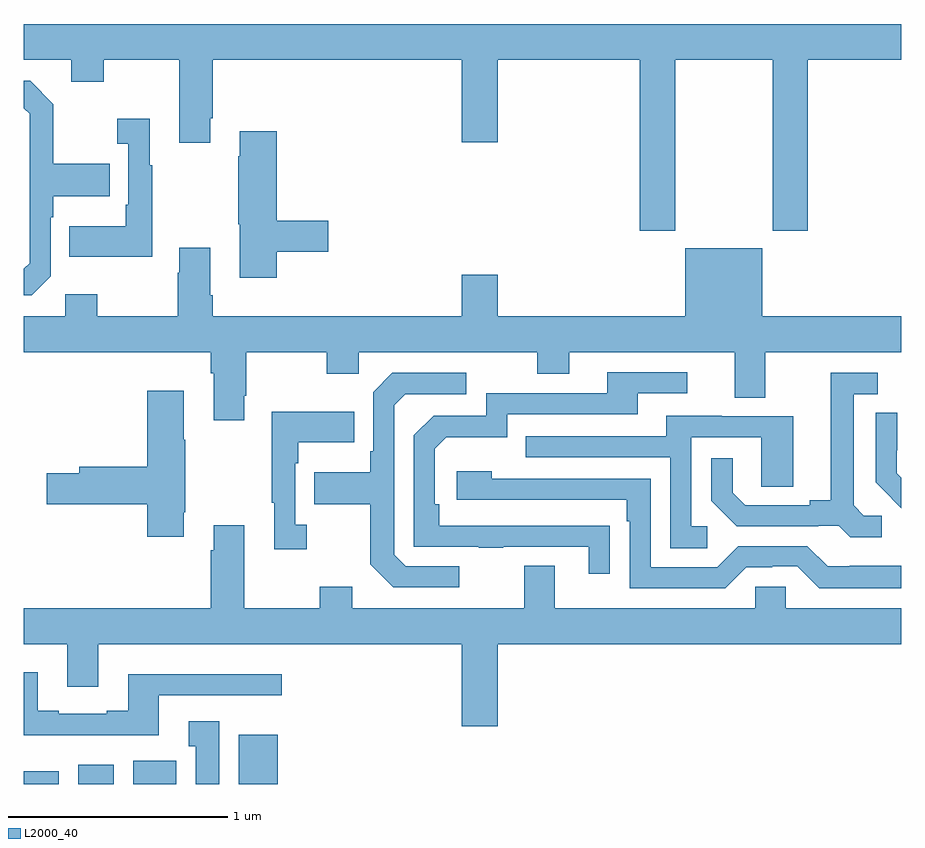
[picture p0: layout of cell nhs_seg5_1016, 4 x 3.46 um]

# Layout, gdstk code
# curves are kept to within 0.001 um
import gdstk
lib = gdstk.Library(unit=1e-6, precision=1e-09)
def R(c, l, rs):  # rectangles x0, y0, x1, y1
    for r in rs: c.add(gdstk.rectangle(r[:2], r[2:], *l))
def P(c, l, *ps):  # polygons
    for p in ps: c.add(gdstk.Polygon(p, *l))
L2000_40 = (2000, 40)

nhs_seg5_1016 = lib.new_cell('nhs_seg5_1016')
R(nhs_seg5_1016, L2000_40, [(175,846.799,175.159,846.856), (175.247,846.799,175.411,846.886), (175.499,846.799,175.696,846.904), (175.979,846.799,176.158,847.024)])
P(nhs_seg5_1016, L2000_40, [(177.969,850.1),(178.414,850.1),(178.414,849.321),(178.574,849.321),(178.574,850.1),(179,850.1),(179,850.264),(175,850.264),(175,850.1),(175.217,850.1),(175.217,850.001),(175.365,850.001),(175.365,850.1),(175.709,850.1),(175.709,849.723),(175.849,849.723),(175.849,849.835),(175.862,849.835),(175.862,850.1),(176.996,850.1),(176.996,849.726),(177.16,849.726),(177.16,850.1),(177.809,850.1),(177.809,849.321),(177.969,849.321)],
  [(175.122,849.114),(175.122,849.383),(175.135,849.383),(175.135,849.479),(175.391,849.479),(175.391,849.627),(175.135,849.627),(175.135,849.899),(175.029,850.005),(175,850.005),(175,849.881),(175.026,849.855),(175.026,849.174),(175,849.148),(175,849.027),(175.035,849.027)],
  [(175.585,849.619),(175.573,849.619),(175.573,849.832),(175.425,849.832),(175.425,849.719),(175.476,849.719),(175.476,849.439),(175.464,849.439),(175.464,849.343),(175.207,849.343),(175.207,849.203),(175.585,849.203)],
  [(176.153,849.226),(176.389,849.226),(176.389,849.368),(176.153,849.368),(176.153,849.775),(175.985,849.775),(175.985,849.662),(175.978,849.662),(175.978,849.351),(175.985,849.351),(175.985,849.108),(176.153,849.108)],
  [(175.862,849.028),(175.849,849.028),(175.849,849.244),(175.709,849.244),(175.709,849.131),(175.702,849.131),(175.702,848.932),(175.335,848.932),(175.335,849.031),(175.188,849.031),(175.188,848.932),(175,848.932),(175,848.768),(175.853,848.768),(175.853,848.672),(175.865,848.672),(175.865,848.457),(176.005,848.457),(176.005,848.569),(176.013,848.569),(176.013,848.768),(176.38,848.768),(176.38,848.669),(176.526,848.669),(176.526,848.768),(177.34,848.768),(177.34,848.669),(177.487,848.669),(177.487,848.768),(178.241,848.768),(178.241,848.56),(178.381,848.56),(178.381,848.768),(179,848.768),(179,848.932),(178.366,848.932),(178.366,849.241),(178.016,849.241),(178.016,848.932),(177.16,848.932),(177.16,849.121),(176.996,849.121),(176.996,848.932),(175.862,848.932)],
  [(177.671,847.976),(176.894,847.977),(176.894,848.074),(176.874,848.074),(176.874,848.328),(176.927,848.381),(177.204,848.381),(177.204,848.484),(177.799,848.484),(177.799,848.58),(178.024,848.58),(178.024,848.676),(177.659,848.676),(177.659,848.58),(177.108,848.58),(177.108,848.478),(176.868,848.478),(176.778,848.388),(176.778,847.881),(177.073,847.881),(177.073,847.876),(177.185,847.876),(177.185,847.881),(177.575,847.881),(177.575,847.758),(177.671,847.758)],
  [(178.912,848.022),(178.83,848.022),(178.783,848.069),(178.783,848.577),(178.894,848.577),(178.894,848.673),(178.679,848.673),(178.679,848.093),(178.583,848.093),(178.583,848.07),(178.288,848.07),(178.231,848.127),(178.231,848.284),(178.134,848.284),(178.134,848.09),(178.25,847.974),(178.622,847.974),(178.622,847.977),(178.716,847.977),(178.768,847.925),(178.912,847.925)],
  [(176.986,847.791),(176.742,847.791),(176.688,847.845),(176.688,848.526),(176.739,848.577),(177.016,848.577),(177.016,848.673),(176.679,848.673),(176.592,848.586),(176.592,848.317),(176.58,848.317),(176.58,848.221),(176.323,848.221),(176.323,848.074),(176.58,848.074),(176.58,847.801),(176.685,847.695),(176.986,847.695)],
  [(175.729,848.038),(175.737,848.038),(175.737,848.369),(175.729,848.369),(175.729,848.593),(175.562,848.593),(175.562,848.246),(175.253,848.246),(175.253,848.216),(175.104,848.216),(175.104,848.074),(175.562,848.074),(175.562,847.926),(175.729,847.926)],
  [(176.29,847.982),(176.238,847.982),(176.238,848.261),(176.251,848.261),(176.251,848.357),(176.507,848.357),(176.507,848.497),(176.13,848.497),(176.13,848.081),(176.141,848.081),(176.141,847.869),(176.29,847.869)],
  [(179,848.195),(178.979,848.216),(178.979,848.32),(178.981,848.32),(178.981,848.492),(178.884,848.492),(178.884,848.174),(178.957,848.101),(178.956,848.1),(179,848.056)],
  [(178.117,847.974),(178.044,847.974),(178.044,848.379),(178.362,848.379),(178.362,848.155),(178.507,848.155),(178.507,848.475),(178.183,848.475),(178.183,848.479),(177.929,848.479),(177.929,848.385),(177.289,848.385),(177.289,848.289),(177.948,848.289),(177.948,847.873),(178.117,847.873)],
  [(179,847.795),(178.765,847.795),(178.765,847.791),(178.665,847.791),(178.572,847.884),(178.257,847.884),(178.161,847.788),(177.858,847.788),(177.858,848.19),(177.134,848.19),(177.134,848.224),(176.973,848.224),(176.973,848.094),(177.749,848.094),(177.749,847.997),(177.762,847.997),(177.762,847.692),(178.197,847.692),(178.293,847.788),(178.412,847.788),(178.412,847.791),(178.527,847.791),(178.627,847.691),(179,847.691)],
  [(177.16,847.436),(179,847.436),(179,847.6),(178.473,847.6),(178.473,847.698),(178.335,847.698),(178.335,847.6),(177.421,847.6),(177.421,847.795),(177.281,847.795),(177.281,847.6),(176.497,847.6),(176.497,847.699),(176.35,847.699),(176.35,847.6),(176.005,847.6),(176.005,847.978),(175.865,847.978),(175.865,847.865),(175.853,847.865),(175.853,847.6),(175,847.6),(175,847.436),(175.199,847.436),(175.199,847.242),(175.339,847.242),(175.339,847.436),(176.996,847.436),(176.996,847.062),(177.16,847.062)],
  [(175.615,847.203),(176.176,847.203),(176.176,847.3),(175.475,847.3),(175.475,847.132),(175.379,847.132),(175.379,847.119),(175.159,847.119),(175.159,847.132),(175.063,847.132),(175.063,847.309),(175,847.309),(175,847.022),(175.615,847.022)],
  [(175.891,847.084),(175.751,847.084),(175.751,846.971),(175.784,846.971),(175.784,846.799),(175.891,846.799)])

lib.write_gds('nhs_seg5_1016.gds')
